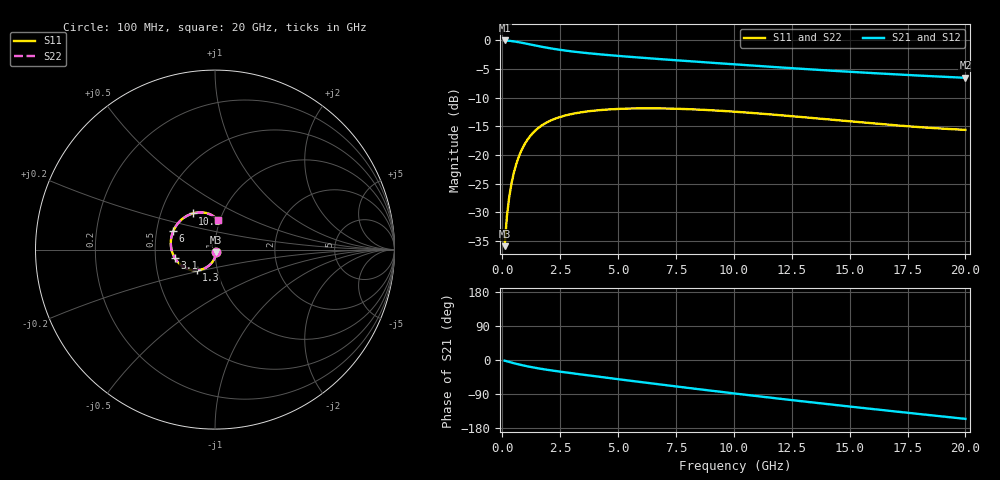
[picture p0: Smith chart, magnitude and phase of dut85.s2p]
! Touchstone file exported from HFSS 2023.1.0
!  File:  D:/Users/fzz/RDL_TSV/temp_RDL_TSV_85_1778747909.aedt
!  Generated:  4:47:55 %x4E0B%x5348  5%x6708 14, 2026
!  Design:  RDL_TSV
!  Project:  temp_RDL_TSV_85_1778747909
!  Setup:  Setup1
!  Solution:  Sweep
! Variables:
!  dtsv = 19.26um
!  hbump = 3um
!  htsv = 88.43um
!  ldown = 344.64um
!  lrdl = 130.83um
!  p = 40
!  p1 = 44.13um
!  rhole = 10um
!  subl = 1557.24um
!  t = 450um
!  tdown = 3.13um
!  trdl = 3.18um
!  viad = 10um
!  wdown = 24.66um
!  wrdl = 24.87um
!  xbump = 18um
# GHz S MA R 50.000000
! Terminal data exported
! Port[1] = TM1_1_T1
! Port[2] = TM1_4_T1
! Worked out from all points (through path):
!   200 points, 100 MHz to 20 GHz, reference 50 ohm
!   highest |S21| = -0.08 dB at 100 MHz (marker M1); lowest = -6.6 dB at 20 GHz (marker M2)
!   group delay of S21, straight-line fit = 20.4 ps
!   lowest |S11| = -35.9 dB at 100 MHz (marker M3), VSWR 1.03, Z = 50.7 - j1.47 ohm
!   |S11| at or under -10 dB: start of sweep to end of sweep
!   |S22| runs from -35.9 to -11.9 dB; largest |S21 - S12| = 4.3e-14
!   S11 on the Smith chart (normalised r, x): 100 MHz: 1.01, -0.03; 1.3 GHz: 0.80, -0.19; 3.1 GHz: 0.63, -0.06; 6 GHz: 0.61, +0.13; 10.2 GHz: 0.72, +0.31; 20 GHz: 0.98, +0.33
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0.1  0.01611 -64.2  0.9912 -1.8  0.9912 -1.8  0.01611 -64.2
! Gamma 0 0 0 0
! Port Impedance 50 0 50 0
0.2  0.0294 -81.2  0.9885 -3.5  0.9885 -3.5  0.0294 -81.2
0.3  0.04325 -89.9  0.9844 -5.2  0.9844 -5.2  0.04324 -89.9
0.4  0.05695 -96.3  0.9792 -6.8  0.9792 -6.8  0.05695 -96.3
0.5  0.07026 -101.6  0.973 -8.4  0.973 -8.4  0.07026 -101.6
0.6  0.08303 -106.3  0.9661 -10.0  0.9661 -10.0  0.08303 -106.3
0.8  0.1066 -114.7  0.9503 -12.9  0.9503 -12.9  0.1066 -114.6
1  0.1275 -121.9  0.9331 -15.6  0.9331 -15.6  0.1275 -121.9
1.3  0.1537 -131.5  0.9066 -19.3  0.9066 -19.3  0.1537 -131.5
1.6  0.1745 -139.7  0.8816 -22.5  0.8816 -22.5  0.1745 -139.7
2  0.1956 -149.1  0.8519 -26.4  0.8519 -26.4  0.1955 -149.0
3.1  0.2295 -168.8  0.7918 -35.7  0.7918 -35.7  0.2294 -168.7
3.5  0.2367 -174.6  0.7755 -38.9  0.7755 -38.9  0.2366 -174.6
4.6  0.2491 171.5  0.739 -47.5  0.739 -47.5  0.2489 171.5
6  0.2546 156.5  0.7017 -58.3  0.7017 -58.3  0.2543 156.6
6.8  0.2543 148.8  0.6827 -64.4  0.6827 -64.4  0.254 148.9
8.4  0.2487 135.0  0.6474 -76.4  0.6474 -76.4  0.2482 135.1
10.1  0.2376 122.4  0.6129 -88.9  0.6129 -88.9  0.237 122.5
10.2  0.2368 121.7  0.6109 -89.6  0.6109 -89.6  0.2363 121.8
13.4  0.2097 103.4  0.5539 -112.0  0.5539 -112.0  0.209 103.5
16.7  0.1832 91.2  0.5063 -134.0  0.5063 -134.0  0.1824 91.4
20  0.1654 84.7  0.4693 -155.4  0.4693 -155.4  0.1647 85.1
